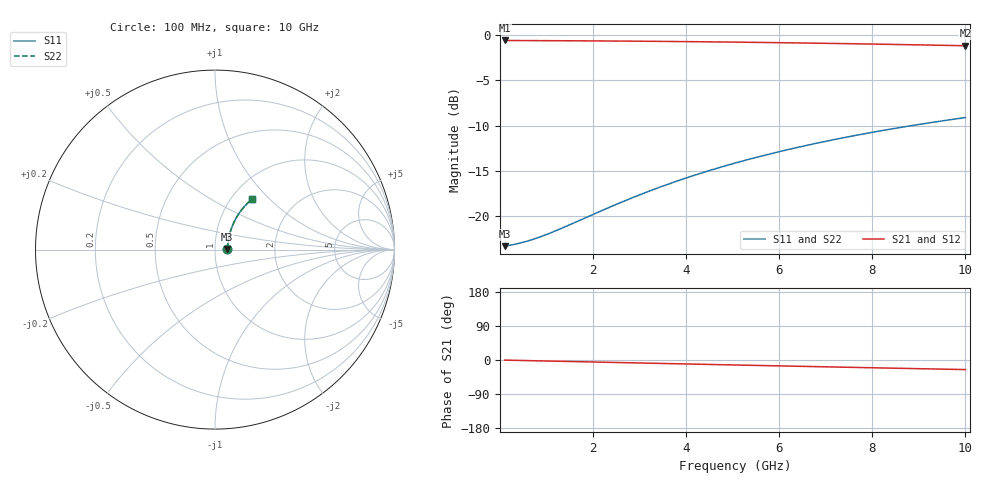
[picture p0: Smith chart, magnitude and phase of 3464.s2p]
# Hz S RI R 50.00
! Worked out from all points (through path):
!   100 points, 100 MHz to 10 GHz, reference 50 ohm
!   highest |S21| = -0.61 dB at 100 MHz (marker M1); lowest = -1.2 dB at 10 GHz (marker M2)
!   group delay of S21, straight-line fit = 7.03 ps
!   lowest |S11| = -23.3 dB at 100 MHz (marker M3), VSWR 1.15, Z = 57.3 + j0.391 ohm
!   |S11| at or under -10 dB: start of sweep to 8.853 GHz
!   |S22| runs from -23.3 to -9.1 dB; largest |S21 - S12| = 0
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1e8  0.0683 0.0034  0.9317 -0.00429  0.9317 -0.00429  0.0683 0.0034
3e8  0.0692 0.0102  0.9308 -0.0129  0.9308 -0.0129  0.0692 0.0102
5e8  0.0699 0.0169  0.9301 -0.0214  0.9301 -0.0214  0.0699 0.0169
8e8  0.071 0.027  0.929 -0.0342  0.929 -0.0342  0.071 0.027
1e9  0.0718 0.0338  0.9282 -0.0427  0.9282 -0.0427  0.0718 0.0338
1.2e9  0.0727 0.0405  0.9273 -0.0512  0.9273 -0.0512  0.0727 0.0405
1.8e9  0.076 0.0604  0.9239 -0.0765  0.9239 -0.0765  0.076 0.0604
2.3e9  0.0795 0.0768  0.9203 -0.0974  0.9203 -0.0974  0.0795 0.0768
2.7e9  0.0828 0.0898  0.9169 -0.1139  0.9169 -0.1139  0.0828 0.0898
3.1e9  0.0865 0.1026  0.9131 -0.1303  0.9131 -0.1303  0.0865 0.1026
3.4e9  0.0896 0.1121  0.9099 -0.1425  0.9099 -0.1425  0.0896 0.1121
3.8e9  0.094 0.1246  0.9053 -0.1586  0.9053 -0.1586  0.094 0.1246
4.2e9  0.0989 0.1369  0.9003 -0.1744  0.9003 -0.1744  0.0989 0.1369
4.6e9  0.1042 0.1489  0.8949 -0.19  0.8949 -0.19  0.1042 0.1489
5.1e9  0.1114 0.1636  0.8875 -0.2092  0.8875 -0.2092  0.1114 0.1636
5.5e9  0.1176 0.1751  0.8811 -0.2243  0.8811 -0.2243  0.1176 0.1751
5.9e9  0.1241 0.1862  0.8744 -0.239  0.8744 -0.239  0.1241 0.1862
6.7e9  0.1382 0.2077  0.8599 -0.2676  0.8599 -0.2676  0.1382 0.2077
7.5e9  0.1535 0.2278  0.8441 -0.295  0.8441 -0.295  0.1535 0.2278
8.4e9  0.172 0.2488  0.825 -0.3241  0.825 -0.3241  0.172 0.2488
9.2e9  0.1895 0.266  0.8069 -0.3486  0.8069 -0.3486  0.1895 0.266
1e10  0.2078 0.2817  0.7879 -0.3716  0.7879 -0.3716  0.2078 0.2817
